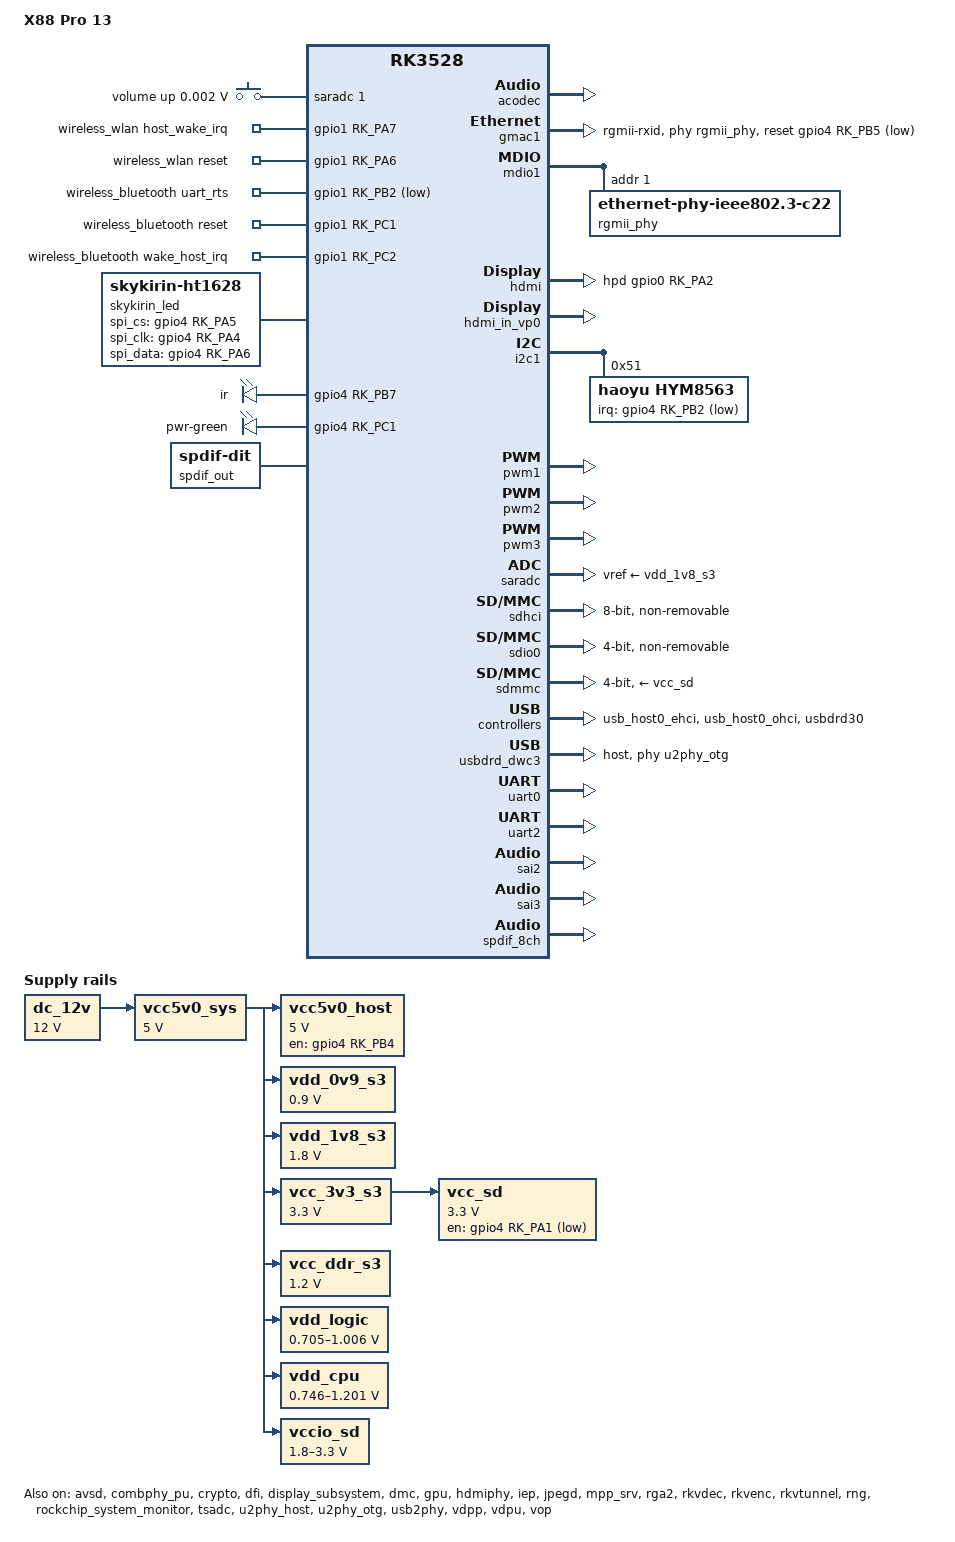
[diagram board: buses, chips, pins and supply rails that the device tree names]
// SPDX-License-Identifier: (GPL-2.0+ OR MIT)
/*
 * Copyright (c) 2022 Rockchip Electronics Co., Ltd.
 *
 * Device Tree Source for the X88 Pro 13 TV box
 *
 * Board: X88PRO13-D4-V1.4 (Hugsun)
 * SoC:   Rockchip RK3528
 * RAM:   4 GiB DDR4
 * Storage: 128 GiB eMMC
 */

/dts-v1/;

#include <dt-bindings/gpio/gpio.h>
#include <dt-bindings/input/rk-input.h>
#include <dt-bindings/interrupt-controller/irq.h>
#include <dt-bindings/pinctrl/rockchip.h>
#include <dt-bindings/phy/phy.h>
#include <dt-bindings/soc/rockchip,boot-mode.h>
#include <dt-bindings/soc/rockchip-system-status.h>
#include <dt-bindings/suspend/rockchip-rk3528.h>
#include <dt-bindings/thermal/thermal.h>
#include "rk3528.dtsi"

/ {
	model = "X88 Pro 13";
	compatible = "hugsun,x88pro13", "rockchip,rk3528";

	aliases {
		ethernet0 = &gmac1;
		mmc0 = &sdmmc;
		mmc1 = &sdhci;
	};

	chosen: chosen {
		bootargs = "earlycon=uart8250,mmio32,0xff9f0000 console=ttyS0,1500000";
	};

	fiq_debugger: fiq-debugger {
		compatible = "rockchip,fiq-debugger";
		rockchip,serial-id = <0>;
		rockchip,wake-irq = <0>;
		rockchip,irq-mode-enable = <1>;
		rockchip,baudrate = <1500000>;
		interrupts = <GIC_SPI 186 IRQ_TYPE_LEVEL_HIGH>;
		pinctrl-names = "default";
		pinctrl-0 = <&uart0m0_xfer>;
		status = "disabled";
	};

	adc_keys: adc-keys {
		compatible = "adc-keys";
		io-channels = <&saradc 1>;
		io-channel-names = "buttons";
		keyup-threshold-microvolt = <1800000>;
		poll-interval = <100>;
		status = "okay";

		vol-up-key {
			label = "volume up";
			linux,code = <KEY_VOLUMEUP>;
			press-threshold-microvolt = <1750>;
		};
	};

	dc_12v: dc-12v {
		compatible = "regulator-fixed";
		regulator-name = "dc_12v";
		regulator-always-on;
		regulator-boot-on;
		regulator-min-microvolt = <12000000>;
		regulator-max-microvolt = <12000000>;
	};

	vcc5v0_sys: vcc5v0-sys {
		compatible = "regulator-fixed";
		regulator-name = "vcc5v0_sys";
		regulator-always-on;
		regulator-boot-on;
		regulator-min-microvolt = <5000000>;
		regulator-max-microvolt = <5000000>;
		vin-supply = <&dc_12v>;
	};

	vcc5v0_host: vcc5v0-host-regulator {
		compatible = "regulator-fixed";
		regulator-name = "vcc5v0_host";
		regulator-boot-on;
		regulator-always-on;
		regulator-min-microvolt = <5000000>;
		regulator-max-microvolt = <5000000>;
		enable-active-high;
		gpio = <&gpio4 RK_PB4 GPIO_ACTIVE_HIGH>;
		vin-supply = <&vcc5v0_sys>;
		pinctrl-names = "default";
		pinctrl-0 = <&vcc5v0_host_en>;
	};

	vdd_0v9_s3: vdd-0v9-s3 {
		compatible = "regulator-fixed";
		regulator-name = "vdd_0v9_s3";
		regulator-always-on;
		regulator-boot-on;
		regulator-min-microvolt = <900000>;
		regulator-max-microvolt = <900000>;
		vin-supply = <&vcc5v0_sys>;
	};

	vdd_1v8_s3: vdd-1v8-s3 {
		compatible = "regulator-fixed";
		regulator-name = "vdd_1v8_s3";
		regulator-always-on;
		regulator-boot-on;
		regulator-min-microvolt = <1800000>;
		regulator-max-microvolt = <1800000>;
		vin-supply = <&vcc5v0_sys>;
	};

	vcc_3v3_s3: vcc-3v3-s3 {
		compatible = "regulator-fixed";
		regulator-name = "vcc_3v3_s3";
		regulator-always-on;
		regulator-boot-on;
		regulator-min-microvolt = <3300000>;
		regulator-max-microvolt = <3300000>;
		vin-supply = <&vcc5v0_sys>;
	};

	vcc_ddr_s3: vcc-ddr-s3 {
		compatible = "regulator-fixed";
		regulator-name = "vcc_ddr_s3";
		regulator-always-on;
		regulator-boot-on;
		regulator-min-microvolt = <1200000>;
		regulator-max-microvolt = <1200000>;
		vin-supply = <&vcc5v0_sys>;
	};

	vdd_logic: vdd-logic {
		compatible = "pwm-regulator";
		pwms = <&pwm2 0 5000 1>;
		regulator-name = "vdd_logic";
		regulator-min-microvolt = <705000>;
		regulator-max-microvolt = <1006000>;
		regulator-init-microvolt = <950000>;
		regulator-always-on;
		regulator-boot-on;
		regulator-settling-time-up-us = <250>;
		pwm-supply = <&vcc5v0_sys>;
		status = "okay";
	};

	vdd_cpu: vdd-cpu {
		compatible = "pwm-regulator";
		pwms = <&pwm1 0 5000 1>;
		regulator-name = "vdd_cpu";
		regulator-min-microvolt = <746000>;
		regulator-max-microvolt = <1201000>;
		regulator-init-microvolt = <953000>;
		regulator-always-on;
		regulator-boot-on;
		regulator-settling-time-up-us = <250>;
		pwm-supply = <&vcc5v0_sys>;
		status = "okay";
	};

	vccio_sd: vccio-sd {
		compatible = "regulator-gpio";
		regulator-name = "vccio_sd";
		regulator-min-microvolt = <1800000>;
		regulator-max-microvolt = <3300000>;
		gpios = <&gpio4 RK_PB6 GPIO_ACTIVE_HIGH>;
		vin-supply = <&vcc5v0_sys>;
		states = <1800000 0x0
			  3300000 0x1>;
	};

	vcc_sd: vcc-sd {
		compatible = "regulator-fixed";
		regulator-name = "vcc_sd";
		regulator-boot-on;
		gpio = <&gpio4 RK_PA1 GPIO_ACTIVE_LOW>;
		regulator-min-microvolt = <3300000>;
		regulator-max-microvolt = <3300000>;
		vin-supply = <&vcc_3v3_s3>;
	};

	wireless_wlan: wireless-wlan {
		compatible = "wlan-platdata";
		rockchip,grf = <&grf>;
		wifi_chip_type = "ap6255";
		pinctrl-names = "default";
		pinctrl-0 = <&wifi_host_wake_irq>;
		WIFI,host_wake_irq = <&gpio1 RK_PA7 GPIO_ACTIVE_HIGH>;
		WIFI,reset_gpio = <&gpio1 RK_PA6 GPIO_ACTIVE_HIGH>;
		status = "okay";
	};

	wireless_bluetooth: wireless-bluetooth {
		compatible = "bluetooth-platdata";
		uart_rts_gpios = <&gpio1 RK_PB2 GPIO_ACTIVE_LOW>;
		pinctrl-names = "default", "rts_gpio";
		pinctrl-0 = <&uart2m1_rtsn>;
		pinctrl-1 = <&uart2m1_gpios>;
		BT,reset_gpio = <&gpio1 RK_PC1 GPIO_ACTIVE_HIGH>;
		BT,wake_host_irq = <&gpio1 RK_PC2 GPIO_ACTIVE_HIGH>;
		status = "okay";
	};

	skykirin_led: skykirin-led {
		compatible = "skykirin-ht1628";
		pinctrl-names = "default";
		pinctrl-0 = <&ht1628_pins>;
		spi_cs = <&gpio4 RK_PA5 GPIO_ACTIVE_HIGH>;
		spi_clk = <&gpio4 RK_PA4 GPIO_ACTIVE_HIGH>;
		spi_data = <&gpio4 RK_PA6 GPIO_ACTIVE_HIGH>;
		status = "okay";
	};

	gpio_leds: gpio-leds {
		compatible = "gpio-leds";
		pinctrl-names = "default";
		pinctrl-0 = <&ir_led &pwr_green_led>;

		ir {
			gpios = <&gpio4 RK_PB7 GPIO_ACTIVE_HIGH>;
			linux,default-trigger = "none";
			default-state = "on";
		};

		pwr-green {
			gpios = <&gpio4 RK_PC1 GPIO_ACTIVE_HIGH>;
			linux,default-trigger = "none";
			default-state = "off";
			retain-state-suspended;
			retain-state-shutdown;
		};
	};

	sdio_pwrseq: sdio-pwrseq {
		compatible = "mmc-pwrseq-simple";
		pinctrl-names = "default";
		pinctrl-0 = <&wifi_enable_h &clkm1_32k_out>;
	};

	hdmi_sound: hdmi-sound {
		compatible = "rockchip,hdmi";
		rockchip,mclk-fs = <128>;
		rockchip,card-name = "rockchip,hdmi";
		rockchip,cpu = <&sai3>;
		rockchip,codec = <&hdmi>;
		rockchip,jack-det;
		status = "okay";
	};

	acodec_sound: acodec-sound {
		status = "okay";
		compatible = "simple-audio-card";
		simple-audio-card,name = "rk3528-acodec";
		simple-audio-card,format = "i2s";
		simple-audio-card,mclk-fs = <256>;

		simple-audio-card,cpu {
			sound-dai = <&sai2>;
		};

		simple-audio-card,codec {
			sound-dai = <&acodec>;
		};
	};

	spdif_sound: spdif-sound {
		status = "okay";
		compatible = "simple-audio-card";
		simple-audio-card,name = "ROCKCHIP,SPDIF";
		simple-audio-card,mclk-fs = <128>;

		simple-audio-card,cpu {
			sound-dai = <&spdif_8ch>;
		};

		simple-audio-card,codec {
			sound-dai = <&spdif_out>;
		};
	};

	spdif_out: spdif-out {
		status = "okay";
		compatible = "linux,spdif-dit";
		#sound-dai-cells = <0>;
	};

	reserved_memory: reserved-memory {
		#address-cells = <2>;
		#size-cells = <2>;
		ranges;

		drm_logo: drm-logo@0 {
			compatible = "rockchip,drm-logo";
			reg = <0x0 0x0 0x0 0x0>;
		};

		drm_cubic_lut: drm-cubic-lut@0 {
			compatible = "rockchip,drm-cubic-lut";
			reg = <0x0 0x0 0x0 0x0>;
		};

		ramoops: ramoops@110000 {
			compatible = "ramoops";
			reg = <0x0 0x110000 0x0 0xe0000>;
			boot-log-size = <0x8000>;
			boot-log-count = <1>;
			console-size = <0x80000>;
			pmsg-size = <0x30000>;
			ftrace-size = <0x0>;
			record-size = <0x14000>;
		};
	};
};

&acodec {
	status = "okay";
	pa-ctl-gpios = <&gpio0 RK_PA0 GPIO_ACTIVE_HIGH>;
};

&avsd {
	status = "okay";
};

&combphy_pu {
	status = "okay";
};

&cpu0 {
	cpu-supply = <&vdd_cpu>;
};

&crypto {
	status = "okay";
};

&dfi {
	status = "okay";
};

&display_subsystem {
	status = "okay";
	memory-region = <&drm_logo>, <&drm_cubic_lut>;
	memory-region-names = "drm-logo", "drm-cubic-lut";

	route {
		route_hdmi: route-hdmi {
			status = "okay";
			logo,uboot = "logo.bmp";
			logo,kernel = "logo_kernel.bmp";
			logo,mode = "center";
			charge_logo,mode = "center";
			connect = <&vp0_out_hdmi>;
		};

		route_tve: route-tve {
			status = "okay";
			logo,uboot = "logo.bmp";
			logo,kernel = "logo_kernel.bmp";
			logo,mode = "center";
			charge_logo,mode = "center";
			connect = <&vp1_out_tve>;
		};
	};
};

&dmc {
	center-supply = <&vdd_logic>;
	status = "okay";
};

&gmac0 {
	status = "disabled";
};

&gmac1 {
	status = "okay";
	phy-mode = "rgmii-rxid";
	clock_in_out = "output";
	snps,reset-gpio = <&gpio4 RK_PB5 GPIO_ACTIVE_LOW>;
	snps,reset-active-low;
	snps,reset-delays-us = <0 20000 100000>;
	tx_delay = <0x30>;
	pinctrl-names = "default";
	pinctrl-0 = <&rgmii_miim &rgmii_tx_bus2 &rgmii_rx_bus2
		     &rgmii_rgmii_clk &rgmii_rgmii_bus>;
	phy-handle = <&rgmii_phy>;
};

&mdio1 {
	rgmii_phy: phy@1 {
		compatible = "ethernet-phy-ieee802.3-c22";
		reg = <0x1>;
	};
};

&gpu {
	mali-supply = <&vdd_logic>;
	status = "okay";
};

&hdmi {
	status = "okay";
	hpd-gpios = <&gpio0 RK_PA2 GPIO_ACTIVE_HIGH>;
};

&hdmi_in_vp0 {
	status = "okay";
};

&hdmiphy {
	status = "okay";
};

&i2c1 {
	status = "okay";
	i2c-scl-rising-time-ns = <100>;
	i2c-scl-falling-time-ns = <30>;
	pinctrl-names = "default";
	pinctrl-0 = <&i2c1m0_xfer>;

	hym8563: hym8563@51 {
		compatible = "haoyu,hym8563";
		reg = <0x51>;
		pinctrl-names = "default";
		pinctrl-0 = <&rtc_irq>;
		irq_gpio = <&gpio4 RK_PB2 GPIO_ACTIVE_LOW>;
		status = "okay";
	};
};

&iep {
	status = "okay";
};

&iep_mmu {
	status = "okay";
};

&jpegd {
	status = "okay";
};

&jpegd_mmu {
	status = "okay";
};

&mpp_srv {
	status = "okay";
};

&pwm1 {
	status = "okay";
	pinctrl-names = "active";
	pinctrl-0 = <&pwm1m0_pins>;
};

&pwm2 {
	status = "okay";
	pinctrl-names = "active";
	pinctrl-0 = <&pwm2m0_pins>;
};

&pwm3 {
	compatible = "rockchip,remotectl-pwm";
	status = "okay";
	pinctrl-names = "default";
	pinctrl-0 = <&pwm3m0_pins>;
	remote_pwm_id = <3>;
	handle_cpu_id = <1>;
	remote_support_psci = <0>;
};

&rga2 {
	status = "okay";
};

&rga2_mmu {
	status = "okay";
};

&rkvdec {
	status = "okay";
};

&rkvdec_mmu {
	status = "okay";
};

&rkvenc {
	status = "okay";
};

&rkvenc_mmu {
	status = "okay";
};

&rkvtunnel {
	status = "okay";
};

&rng {
	status = "okay";
};

&rockchip_suspend {
	status = "okay";
	rockchip,sleep-debug-en = <1>;
	rockchip,virtual-poweroff = <1>;
	rockchip,sleep-mode-config = <
		(0
		| RKPM_SLP_ARMPD
		)
	>;
	rockchip,wakeup-config = <
		(0
		| RKPM_CPU0_WKUP_EN
		| RKPM_GPIO_WKUP_EN
		)
	>;
	rockchip,pwm-regulator-config = <
		(0
		| RKPM_PWM1_M0_REGULATOR_EN
		)
	>;
};

&rockchip_system_monitor {
	status = "okay";
	rockchip,thermal-zone = "soc-thermal";
};

&saradc {
	status = "okay";
	vref-supply = <&vdd_1v8_s3>;
};

&sdhci {
	bus-width = <8>;
	no-sd;
	no-sdio;
	non-removable;
	mmc-hs400-1_8v;
	mmc-hs400-enhanced-strobe;
	max-frequency = <200000000>;
	status = "okay";
	fixed-emmc-driver-type = <4>;
};

&sdio0 {
	max-frequency = <200000000>;
	bus-width = <4>;
	cap-sd-highspeed;
	cap-sdio-irq;
	disable-wp;
	keep-power-in-suspend;
	mmc-pwrseq = <&sdio_pwrseq>;
	no-mmc;
	no-sd;
	non-removable;
	pinctrl-names = "default";
	pinctrl-0 = <&sdio0_bus4 &sdio0_clk &sdio0_cmd>;
	sd-uhs-sdr104;
	supports-sdio;
	status = "okay";
};

&sdmmc {
	bus-width = <4>;
	cap-mmc-highspeed;
	cap-sd-highspeed;
	disable-wp;
	max-frequency = <150000000>;
	pinctrl-names = "default";
	pinctrl-0 = <&sdmmc_clk &sdmmc_cmd &sdmmc_det &sdmmc_bus4>;
	rockchip,default-sample-phase = <90>;
	supports-sd;
	sd-uhs-sdr12;
	sd-uhs-sdr25;
	sd-uhs-sdr50;
	sd-uhs-sdr104;
	vqmmc-supply = <&vccio_sd>;
	vmmc-supply = <&vcc_sd>;
	status = "okay";
};

&tsadc {
	status = "okay";
};

&u2phy_host {
	phy-supply = <&vcc5v0_host>;
	status = "okay";
};

&u2phy_otg {
	phy-supply = <&vcc5v0_host>;
	status = "okay";
};

&usb2phy {
	status = "okay";
};

&usb_host0_ehci {
	status = "okay";
};

&usb_host0_ohci {
	status = "okay";
};

&usbdrd30 {
	status = "okay";
};

&usbdrd_dwc3 {
	status = "okay";
	dr_mode = "host";
	phys = <&u2phy_otg>, <&combphy_pu PHY_TYPE_USB3>;
	phy-names = "usb2-phy", "usb3-phy";
	phy_type = "utmi_wide";
	snps,dis_enblslpm_quirk;
	snps,dis-u1-entry-quirk;
	snps,dis-u2-entry-quirk;
	snps,dis-u2-freeclk-exists-quirk;
	snps,dis-del-phy-power-chg-quirk;
	snps,dis-tx-ipgap-linecheck-quirk;
	snps,dis_rxdet_inp3_quirk;
	snps,parkmode-disable-hs-quirk;
	snps,parkmode-disable-ss-quirk;
	quirk-skip-phy-init;
};

&uart0 {
	status = "okay";
	pinctrl-names = "default";
	pinctrl-0 = <&uart0m0_xfer>;
};

&uart2 {
	status = "okay";
	pinctrl-names = "default";
	pinctrl-0 = <&uart2m1_xfer &uart2m1_ctsn>;
};

&vdpp {
	status = "okay";
};

&vdpu {
	status = "okay";
};

&vdpu_mmu {
	status = "okay";
};

&vop {
	status = "okay";
};

&vop_mmu {
	status = "okay";
};

&sai2 {
	status = "okay";
};

&sai3 {
	status = "okay";
};

&spdif_8ch {
	status = "okay";
	pinctrl-names = "default";
	pinctrl-0 = <&spdifm0_pins>;
};

&pinctrl {
	usb {
		vcc5v0_host_en: vcc5v0-host-en {
			rockchip,pins = <4 RK_PB4 RK_FUNC_GPIO &pcfg_pull_none>;
		};
	};

	wireless-wlan {
		wifi_host_wake_irq: wifi-host-wake-irq {
			rockchip,pins = <1 RK_PA7 RK_FUNC_GPIO &pcfg_pull_down>;
		};

		wifi_enable_h: wifi-enable-h {
			rockchip,pins = <1 RK_PA6 RK_FUNC_GPIO &pcfg_pull_none>;
		};
	};

	wireless-bluetooth {
		uart2m1_gpios: uart2m1-gpios {
			rockchip,pins = <1 RK_PB2 RK_FUNC_GPIO &pcfg_pull_none>;
		};
	};

	hym8563-irq {
		rtc_irq: rtc-irq {
			rockchip,pins = <4 RK_PB2 RK_FUNC_GPIO &pcfg_pull_none>;
		};
	};

	skykirin-led {
		ht1628_pins: ht1628-pins {
			rockchip,pins = <4 RK_PA4 RK_FUNC_GPIO &pcfg_pull_none>,
					<4 RK_PA5 RK_FUNC_GPIO &pcfg_pull_none>,
					<4 RK_PA6 RK_FUNC_GPIO &pcfg_pull_none>;
		};
	};

	gpio-leds {
		ir_led: ir-led {
			rockchip,pins = <4 RK_PB7 RK_FUNC_GPIO &pcfg_pull_none>;
		};

		pwr_green_led: pwr-green-led {
			rockchip,pins = <4 RK_PC1 RK_FUNC_GPIO &pcfg_pull_none>;
		};
	};
};
